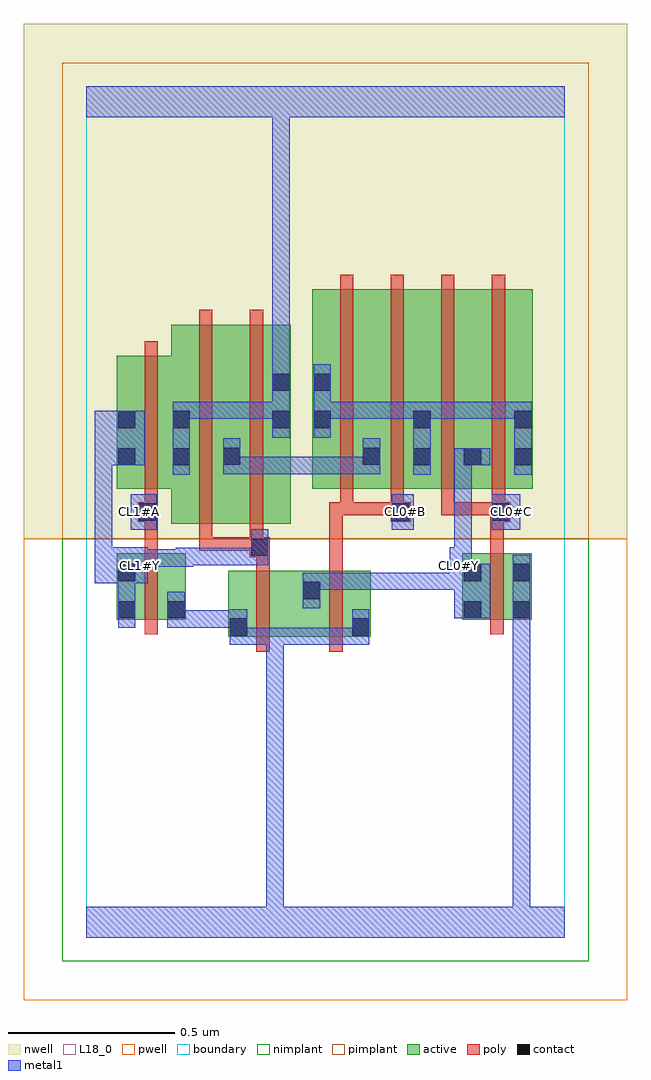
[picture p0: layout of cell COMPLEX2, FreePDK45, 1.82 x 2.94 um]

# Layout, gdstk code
import gdstk
lib = gdstk.Library(unit=1e-6, precision=1e-09)
def R(c, l, rs):  # rectangles x0, y0, x1, y1
    for r in rs: c.add(gdstk.rectangle(r[:2], r[2:], *l))
def A(c, l, x, y, w, h, nx, ny, dx, dy):  # array of equal rectangles
    R(c, l, [(x+i*dx, y+j*dy, x+i*dx+w, y+j*dy+h) for i in range(nx) for j in range(ny)])
active = (1, 0)
pwell = (2, 0)
nwell = (3, 0)
nimplant = (4, 0)
pimplant = (5, 0)
poly = (9, 0)
contact = (10, 0)
metal1 = (11, 0)
L18_0 = (18, 0)
boundary = (235, 0)

complex2 = lib.new_cell('COMPLEX2')
A(complex2, active, 0.828, 1.35, 0.212, 0.6, 3, 1, 0.152, 0)
R(complex2, active, [(0.428,0.904,0.488,1.104), (0.428,0.904,0.708,1.104), (0.648,0.904,0.856,1.104), (0.796,0.904,0.856,1.104), (0.092,0.956,0.152,1.156), (0.092,0.956,0.3,1.156), (0.24,0.956,0.3,1.156), (0.648,0.956,0.708,1.104), (1.132,0.956,1.192,1.156), (1.132,0.956,1.34,1.156), (1.28,0.956,1.34,1.156), (0.256,1.244,0.468,1.844), (0.408,1.244,0.616,1.844), (0.556,1.244,0.616,1.844), (0.092,1.35,0.316,1.75), (0.092,1.35,0.152,1.75), (0.256,1.35,0.316,1.644), (0.68,1.35,0.888,1.95), (0.68,1.35,0.74,1.844), (1.284,1.35,1.344,1.95), (0.98,1.416,1.04,1.844), (1.132,1.416,1.192,1.844), (0.408,1.418,0.468,1.844), (0.828,1.418,0.888,1.844)])
R(complex2, pwell, [(-0.188,-0.188,1.628,1.2)])
R(complex2, nwell, [(-0.188,1.2,1.628,2.748)])
R(complex2, nimplant, [(-0.072,-0.072,1.512,1.2)])
R(complex2, pimplant, [(-0.072,1.2,1.512,2.632)])
A(complex2, poly, 0.764, 1.27, 0.04, 0.076, 4, 1, 0.152, 0)
A(complex2, poly, 0.764, 1.306, 0.04, 0.688, 4, 1, 0.152, 0)
R(complex2, poly, [(0.512,0.86,0.552,1.148), (0.732,0.86,0.772,1.148), (0.176,0.912,0.216,1.2), (1.216,0.912,1.256,1.2), (0.512,1.108,0.552,1.184), (0.732,1.108,0.772,1.31), (0.492,1.144,0.552,1.204), (0.176,1.16,0.216,1.29), (1.216,1.16,1.256,1.29), (0.34,1.164,0.38,1.24), (0.34,1.164,0.38,1.204), (0.34,1.164,0.532,1.204), (0.492,1.164,0.532,1.24), (0.492,1.164,0.532,1.204), (0.492,1.164,0.532,1.204), (0.492,1.164,0.532,1.204), (0.492,1.164,0.532,1.204), (0.34,1.2,0.38,1.888), (0.492,1.2,0.532,1.888), (0.156,1.25,0.216,1.31), (0.176,1.25,0.216,1.29), (0.176,1.25,0.216,1.29), (0.916,1.25,0.976,1.31), (1.216,1.25,1.256,1.29), (1.216,1.25,1.256,1.29), (1.216,1.25,1.276,1.31), (0.176,1.27,0.216,1.346), (0.732,1.27,0.804,1.31), (0.764,1.27,0.804,1.31), (0.764,1.27,0.804,1.31), (0.764,1.27,0.956,1.31), (0.916,1.27,0.956,1.31), (0.916,1.27,0.956,1.31), (1.068,1.27,1.108,1.31), (1.068,1.27,1.256,1.31), (1.216,1.27,1.256,1.31), (1.216,1.27,1.256,1.31), (0.176,1.306,0.216,1.794)])
A(complex2, contact, 0.984, 1.42, 0.052, 0.052, 3, 1, 0.152, 0)
R(complex2, contact, [(0.432,0.908,0.484,0.96), (0.8,0.908,0.852,0.96), (0.096,0.96,0.148,1.012), (0.244,0.96,0.296,1.012), (1.136,0.96,1.188,1.012), (1.284,0.96,1.336,1.012), (0.652,1.018,0.704,1.07), (0.096,1.072,0.148,1.124), (1.136,1.072,1.188,1.124), (1.284,1.072,1.336,1.124), (0.496,1.148,0.548,1.2), (0.16,1.254,0.212,1.306), (0.92,1.254,0.972,1.306), (1.22,1.254,1.272,1.306), (0.096,1.42,0.148,1.472), (0.26,1.42,0.312,1.472), (0.412,1.422,0.464,1.474), (0.832,1.422,0.884,1.474), (0.096,1.532,0.148,1.584), (0.26,1.532,0.312,1.584), (0.56,1.532,0.612,1.584), (0.684,1.532,0.736,1.584), (0.984,1.532,1.036,1.584), (1.288,1.532,1.34,1.584), (0.56,1.644,0.612,1.696), (0.684,1.644,0.736,1.696)])
R(complex2, metal1, [(0,0,1.44,0.092), (0.542,0.04,0.594,0.092), (0.542,0.04,0.594,0.092), (0.542,0.04,0.594,0.092), (0.542,0.04,0.594,0.092), (0.542,0.04,0.594,0.092), (0.542,0.04,0.594,0.092), (0.542,0.04,0.594,0.092), (0.542,0.04,0.594,0.092), (0.542,0.04,0.594,0.092), (0.542,0.04,0.594,0.092), (0.542,0.04,0.594,0.092), (0.542,0.04,0.594,0.092), (0.542,0.04,0.594,0.092), (0.542,0.04,0.594,0.092), (0.542,0.04,0.594,0.092), (0.542,0.04,0.594,0.092), (0.542,0.04,0.594,0.932), (1.284,0.04,1.336,0.092), (1.284,0.04,1.336,0.092), (1.284,0.04,1.336,0.092), (1.284,0.04,1.336,0.092), (1.284,0.04,1.336,0.092), (1.284,0.04,1.336,0.092), (1.284,0.04,1.336,0.092), (1.284,0.04,1.336,0.092), (1.284,0.04,1.336,0.984), (0.432,0.88,0.484,0.932), (0.432,0.88,0.484,0.932), (0.432,0.88,0.594,0.932), (0.432,0.88,0.484,0.988), (0.542,0.88,0.594,0.932), (0.542,0.88,0.594,0.932), (0.542,0.88,0.594,0.932), (0.542,0.88,0.594,0.932), (0.542,0.88,0.594,0.932), (0.542,0.88,0.852,0.932), (0.8,0.88,0.852,0.932), (0.8,0.88,0.852,0.932), (0.8,0.88,0.852,0.988), (0.096,0.932,0.148,1.152), (0.244,0.932,0.296,0.984), (0.244,0.932,0.296,0.984), (0.244,0.932,0.296,1.04), (0.244,0.932,0.484,0.984), (1.284,0.932,1.336,0.984), (1.284,0.932,1.336,0.984), (1.284,0.932,1.336,0.984), (1.284,0.932,1.336,0.984), (1.284,0.932,1.336,0.984), (1.284,0.932,1.336,0.984), (1.284,0.932,1.336,0.984), (1.284,0.932,1.336,0.984), (1.284,0.932,1.336,1.152), (1.108,0.96,1.216,1.124), (0.652,0.99,0.704,1.098), (0.652,1.046,0.704,1.098), (0.652,1.046,0.704,1.098), (0.652,1.046,0.846,1.098), (0.794,1.046,0.846,1.098), (0.794,1.046,1.036,1.098), (0.984,1.046,1.036,1.098), (0.984,1.046,1.036,1.098), (0.984,1.046,1.036,1.098), (0.984,1.046,1.16,1.098), (1.108,1.046,1.16,1.098), (1.108,1.046,1.16,1.098), (0.026,1.066,0.186,1.174), (0.096,1.066,0.148,1.118), (1.094,1.066,1.16,1.174), (1.108,1.072,1.16,1.124), (0.134,1.116,0.186,1.168), (0.134,1.116,0.186,1.168), (0.134,1.116,0.322,1.168), (0.27,1.116,0.322,1.168), (0.27,1.116,0.322,1.168), (0.27,1.116,0.322,1.172), (0.27,1.12,0.484,1.172), (0.432,1.12,0.484,1.172), (0.432,1.12,0.548,1.172), (0.496,1.12,0.548,1.228), (0.026,1.122,0.078,1.472), (1.108,1.122,1.16,1.472), (0.134,1.226,0.212,1.334), (0.92,1.226,0.986,1.334), (1.22,1.226,1.306,1.334), (0.26,1.392,0.312,1.612), (0.984,1.392,1.036,1.612), (1.288,1.392,1.34,1.612), (0.412,1.394,0.464,1.446), (0.412,1.394,0.464,1.446), (0.412,1.394,0.464,1.502), (0.412,1.394,0.594,1.446), (0.542,1.394,0.594,1.446), (0.542,1.394,0.704,1.446), (0.652,1.394,0.704,1.446), (0.652,1.394,0.704,1.446), (0.652,1.394,0.704,1.446), (0.652,1.394,0.884,1.446), (0.832,1.394,0.884,1.502), (0.026,1.42,0.078,1.472), (0.026,1.42,0.078,1.472), (0.026,1.42,0.176,1.584), (1.108,1.42,1.16,1.472), (1.108,1.42,1.16,1.472), (1.108,1.42,1.216,1.472), (0.56,1.504,0.612,1.724), (0.684,1.504,0.736,1.724), (0.26,1.56,0.312,1.612), (0.26,1.56,0.312,1.612), (0.26,1.56,0.484,1.612), (0.432,1.56,0.484,1.612), (0.432,1.56,0.484,1.612), (0.432,1.56,0.484,1.612), (0.432,1.56,0.612,1.612), (0.684,1.56,0.736,1.612), (0.684,1.56,0.736,1.612), (0.684,1.56,0.926,1.612), (0.874,1.56,0.926,1.612), (0.874,1.56,1.036,1.612), (0.984,1.56,1.036,1.612), (0.984,1.56,1.036,1.612), (0.984,1.56,1.146,1.612), (1.094,1.56,1.146,1.612), (1.094,1.56,1.146,1.612), (1.094,1.56,1.146,1.612), (1.094,1.56,1.34,1.612), (1.288,1.56,1.34,1.612), (1.288,1.56,1.34,1.612), (0.56,1.672,0.612,2.52), (0,2.468,1.44,2.56), (0.56,2.468,0.612,2.52), (0.56,2.468,0.612,2.52), (0.56,2.468,0.612,2.52), (0.56,2.468,0.612,2.52), (0.56,2.468,0.612,2.52), (0.56,2.468,0.612,2.52), (0.56,2.468,0.612,2.52), (0.56,2.468,0.612,2.52), (0.56,2.468,0.612,2.52), (0.56,2.468,0.612,2.52), (0.56,2.468,0.612,2.52), (0.56,2.468,0.612,2.52)])
R(complex2, L18_0, [(0,0,1.44,0.092), (0.542,0.04,0.594,0.092), (0.542,0.04,0.594,0.092), (0.542,0.04,0.594,0.092), (0.542,0.04,0.594,0.092), (0.542,0.04,0.594,0.092), (0.542,0.04,0.594,0.092), (0.542,0.04,0.594,0.092), (0.542,0.04,0.594,0.092), (0.542,0.04,0.594,0.092), (0.542,0.04,0.594,0.092), (0.542,0.04,0.594,0.092), (0.542,0.04,0.594,0.092), (0.542,0.04,0.594,0.092), (0.542,0.04,0.594,0.092), (0.542,0.04,0.594,0.092), (0.542,0.04,0.594,0.092), (0.542,0.04,0.594,0.932), (1.284,0.04,1.336,0.092), (1.284,0.04,1.336,0.092), (1.284,0.04,1.336,0.092), (1.284,0.04,1.336,0.092), (1.284,0.04,1.336,0.092), (1.284,0.04,1.336,0.092), (1.284,0.04,1.336,0.092), (1.284,0.04,1.336,0.092), (1.284,0.04,1.336,0.984), (0.432,0.88,0.484,0.932), (0.432,0.88,0.484,0.932), (0.432,0.88,0.484,0.988), (0.432,0.88,0.594,0.932), (0.542,0.88,0.594,0.932), (0.542,0.88,0.594,0.932), (0.542,0.88,0.594,0.932), (0.542,0.88,0.594,0.932), (0.542,0.88,0.594,0.932), (0.542,0.88,0.852,0.932), (0.8,0.88,0.852,0.932), (0.8,0.88,0.852,0.932), (0.8,0.88,0.852,0.988), (0.096,0.932,0.148,1.152), (0.244,0.932,0.296,0.984), (0.244,0.932,0.296,0.984), (0.244,0.932,0.296,1.04), (0.244,0.932,0.484,0.984), (1.284,0.932,1.336,1.152), (1.284,0.932,1.336,0.984), (1.284,0.932,1.336,0.984), (1.284,0.932,1.336,0.984), (1.284,0.932,1.336,0.984), (1.284,0.932,1.336,0.984), (1.284,0.932,1.336,0.984), (1.284,0.932,1.336,0.984), (1.284,0.932,1.336,0.984), (1.108,0.96,1.216,1.124), (0.652,0.99,0.704,1.098), (0.652,1.046,0.704,1.098), (0.652,1.046,0.704,1.098), (0.652,1.046,0.846,1.098), (0.794,1.046,0.846,1.098), (0.794,1.046,1.036,1.098), (0.984,1.046,1.036,1.098), (0.984,1.046,1.036,1.098), (0.984,1.046,1.036,1.098), (0.984,1.046,1.16,1.098), (1.108,1.046,1.16,1.098), (1.108,1.046,1.16,1.098), (0.026,1.066,0.186,1.174), (0.096,1.066,0.148,1.118), (1.094,1.066,1.16,1.174), (1.108,1.072,1.16,1.124), (0.134,1.094,0.186,1.146), (1.094,1.094,1.146,1.146), (0.134,1.116,0.186,1.168), (0.134,1.116,0.186,1.168), (0.134,1.116,0.322,1.168), (0.27,1.116,0.322,1.168), (0.27,1.116,0.322,1.168), (0.27,1.116,0.322,1.172), (0.27,1.12,0.484,1.172), (0.432,1.12,0.484,1.172), (0.432,1.12,0.548,1.172), (0.496,1.12,0.548,1.228), (0.026,1.122,0.078,1.472), (1.108,1.122,1.16,1.472), (0.134,1.226,0.212,1.334), (0.92,1.226,0.986,1.334), (1.22,1.226,1.306,1.334), (0.134,1.254,0.186,1.306), (0.934,1.254,0.986,1.306), (1.254,1.254,1.306,1.306), (0.26,1.392,0.312,1.612), (0.026,1.42,0.078,1.472), (0.026,1.42,0.078,1.472), (0.026,1.42,0.176,1.584), (1.108,1.42,1.16,1.472), (1.108,1.42,1.16,1.472), (1.108,1.42,1.216,1.472), (0.56,1.504,0.612,1.724), (0.26,1.56,0.312,1.612), (0.26,1.56,0.312,1.612), (0.26,1.56,0.484,1.612), (0.432,1.56,0.484,1.612), (0.432,1.56,0.484,1.612), (0.432,1.56,0.484,1.612), (0.432,1.56,0.612,1.612), (0.56,1.672,0.612,2.52), (0,2.468,1.44,2.56), (0.56,2.468,0.612,2.52), (0.56,2.468,0.612,2.52), (0.56,2.468,0.612,2.52), (0.56,2.468,0.612,2.52), (0.56,2.468,0.612,2.52), (0.56,2.468,0.612,2.52), (0.56,2.468,0.612,2.52), (0.56,2.468,0.612,2.52), (0.56,2.468,0.612,2.52), (0.56,2.468,0.612,2.52), (0.56,2.468,0.612,2.52), (0.56,2.468,0.612,2.52)])
R(complex2, boundary, [(0,0,1.44,2.56)])
complex2.add(gdstk.Label('CL0#B', (0.96,1.28), layer=11, texttype=0))
complex2.add(gdstk.Label('CL0#C', (1.28,1.28), layer=11, texttype=0))
complex2.add(gdstk.Label('CL0#Y', (1.12,1.12), layer=11, texttype=0))
complex2.add(gdstk.Label('CL1#A', (0.16,1.28), layer=11, texttype=0))
complex2.add(gdstk.Label('CL1#Y', (0.16,1.12), layer=11, texttype=0))

lib.write_gds('COMPLEX2.gds')
